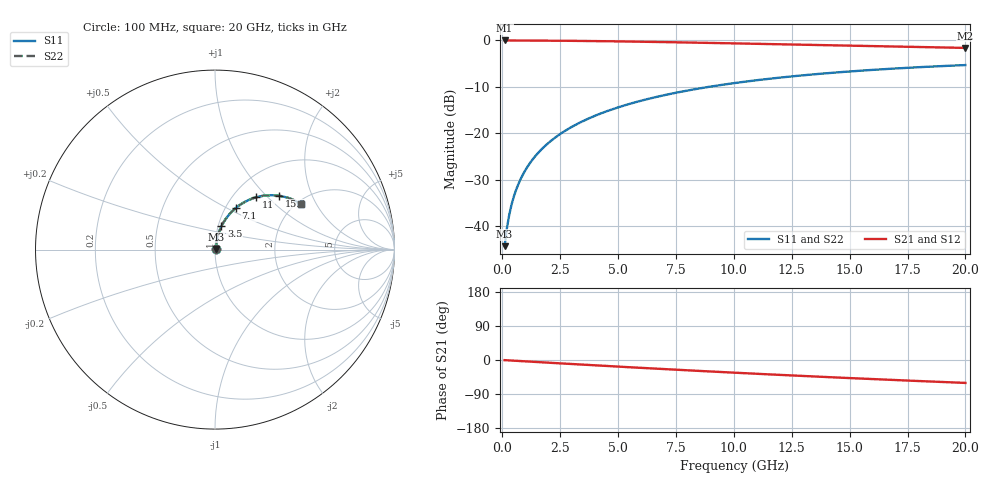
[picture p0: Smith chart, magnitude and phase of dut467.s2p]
! Touchstone file exported from HFSS 2026.1.0
!  File:  C:/ffzhzh/LocalFiles/Ansys_Project_Files/temp_train_BSMRDL_467_1783013609_46388.aedt
!  Generated:  01:35:08 AM Jul  3, 2026
!  Design:  BSMRDL
!  Project:  temp_train_BSMRDL_467_1783013609_46388
! Variables:
!  h_bsmrdl = 4.07um
!  h_ox = 20um
!  h_rdl = 5um
!  h_sub = 80um
!  h_tmrdl = 5um
!  h_tsv = 80um
!  h_via = 3um
!  l_bsmrdl = 930.85um
!  l_sub = 1330.85um
!  l_tmrdl = 200um
!  m_sub = 200um
!  pitch = 51.71um
!  r_tsv = 6um
!  s_tmrdl = 10um
!  w_bsmrdl = 19.1um
!  w_sub = 500um
!  w_tmrdl = 12um
!  x_tsv_center1 = 206um
!  x_tsv_center2 = 1155.95um
!  x_tsv_center3 = 1367.95um
!  x_tsv_center4 = 2317.9um
!  x_tsv_center5 = 2529.9um
!  x_tsv_center6 = 3479.85um
# GHz S MA R 50.000000
! Terminal data exported
! Port[1] = BSM_RDL1_1_T1
! Port[2] = BSM_RDL1_1_T2
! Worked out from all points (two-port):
!   200 points, 100 MHz to 20 GHz, reference 50 ohm
!   highest |S21| = -0.04 dB at 100 MHz (marker M1); lowest = -1.6 dB at 20 GHz (marker M2)
!   |S21| within 3 dB of the highest: start of sweep to end of sweep
!   lowest |S11| = -44.3 dB at 100 MHz (marker M3), VSWR 1.01, Z = 50.4 + j0.423 ohm
!   |S11| at or under -10 dB: start of sweep to 8.96 GHz
!   |S22| runs from -44.3 to -5.3 dB; largest |S21 - S12| = 8.3e-15
!   S11 on the Smith chart (normalised r, x): 100 MHz: 1.01, +0.01; 3.5 GHz: 1.04, +0.28; 7.1 GHz: 1.12, +0.56; 11 GHz: 1.27, +0.86; 15.3 GHz: 1.56, +1.20; 20 GHz: 2.09, +1.51
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0.1  0.006068 43.7  0.9956 -0.4  0.9956 -0.4  0.006067 43.7
! Gamma 0 0 0 0
! Port Impedance 50 0 50 0
0.2  0.009494 60.7  0.9954 -0.7  0.9954 -0.7  0.009494 60.7
0.3  0.01323 68.0  0.9952 -1.1  0.9952 -1.1  0.01323 68.0
0.4  0.01701 71.9  0.995 -1.5  0.995 -1.5  0.01701 71.9
0.5  0.02083 74.3  0.9948 -1.8  0.9948 -1.8  0.02083 74.3
0.6  0.02465 75.9  0.9946 -2.2  0.9946 -2.2  0.02465 75.9
0.8  0.03235 77.8  0.9942 -2.9  0.9942 -2.9  0.03235 77.8
1.1  0.04395 79.0  0.9936 -3.9  0.9936 -3.9  0.04395 79.0
1.5  0.05945 79.2  0.9926 -5.3  0.9926 -5.3  0.05945 79.2
2.1  0.08259 78.3  0.9905 -7.5  0.9905 -7.5  0.08259 78.3
2.7  0.1055 76.9  0.9879 -9.6  0.9879 -9.6  0.1055 76.9
3.5  0.1354 74.6  0.9836 -12.3  0.9836 -12.3  0.1354 74.6
5  0.1894 69.9  0.9733 -17.4  0.9733 -17.4  0.1894 70.0
6.8  0.2501 64.3  0.9581 -23.4  0.9581 -23.4  0.2501 64.3
7.1  0.2597 63.3  0.9553 -24.4  0.9553 -24.4  0.2597 63.4
8.5  0.3028 59.0  0.9418 -28.8  0.9418 -28.8  0.3028 59.1
10.1  0.3481 54.3  0.9253 -33.7  0.9253 -33.7  0.3482 54.3
11  0.3719 51.6  0.9158 -36.4  0.9158 -36.4  0.3719 51.7
13.4  0.4287 44.9  0.8903 -43.3  0.8903 -43.3  0.4287 45.0
15.3  0.4674 39.8  0.8707 -48.5  0.8707 -48.5  0.4674 39.9
16.7  0.4924 36.2  0.8569 -52.2  0.8569 -52.2  0.4925 36.3
20  0.5409 28.1  0.8277 -60.5  0.8277 -60.5  0.5409 28.2
